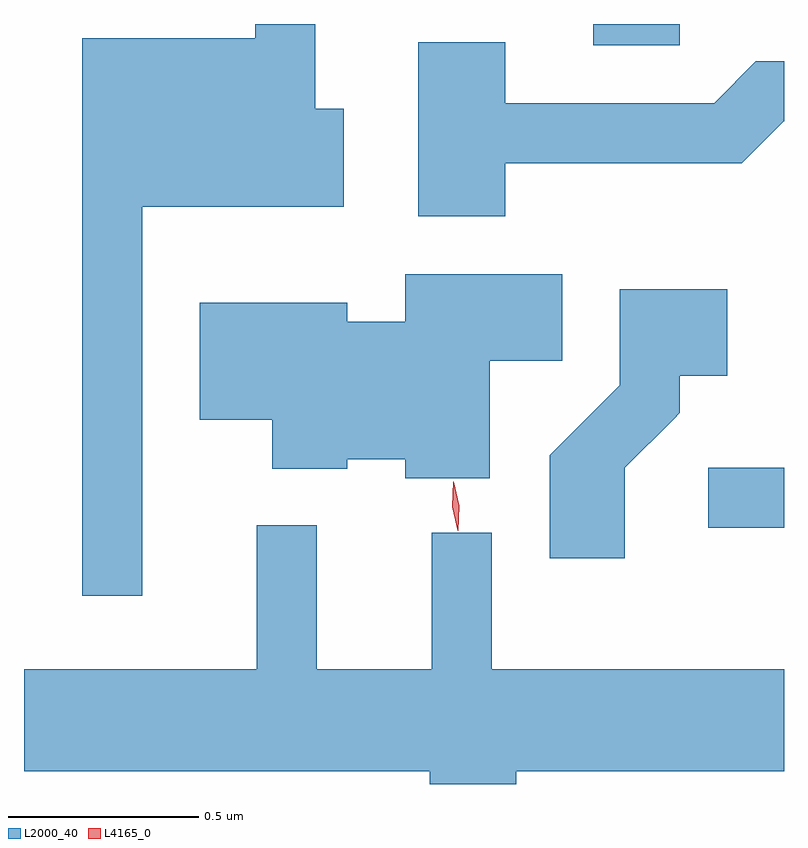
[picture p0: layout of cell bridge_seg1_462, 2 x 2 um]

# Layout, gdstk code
import gdstk
lib = gdstk.Library(unit=1e-6, precision=1e-09)
def R(c, l, rs):  # rectangles x0, y0, x1, y1
    for r in rs: c.add(gdstk.rectangle(r[:2], r[2:], *l))
def P(c, l, *ps):  # polygons
    for p in ps: c.add(gdstk.Polygon(p, *l))
L2000_40 = (2000, 40)
L4165_0 = (4165, 0)

bridge_seg1_462 = lib.new_cell('bridge_seg1_462')
R(bridge_seg1_462, L2000_40, [(344.103,846.936,344.303,847.094), (343.801,848.206,344.029,848.262)])
P(bridge_seg1_462, L2000_40, [(342.614,847.781),(343.144,847.781),(343.144,848.039),(343.069,848.039),(343.069,848.262),(342.911,848.262),(342.911,848.224),(342.456,848.224),(342.456,846.758),(342.614,846.758)],
  [(343.569,847.896),(344.192,847.896),(344.302,848.006),(344.303,848.006),(344.303,848.164),(344.229,848.164),(344.119,848.054),(343.569,848.054),(343.569,848.214),(343.341,848.214),(343.341,847.756),(343.569,847.756)],
  [(343.529,847.376),(343.719,847.376),(343.719,847.604),(343.306,847.604),(343.306,847.479),(343.154,847.479),(343.154,847.529),(342.766,847.529),(342.766,847.221),(342.956,847.221),(342.956,847.091),(343.154,847.091),(343.154,847.116),(343.306,847.116),(343.306,847.066),(343.529,847.066)],
  [(343.884,847.094),(344.013,847.222),(344.029,847.239),(344.029,847.336),(344.154,847.336),(344.154,847.564),(343.871,847.564),(343.871,847.312),(343.686,847.127),(343.686,846.856),(343.884,846.856)],
  [(343.599,846.296),(344.303,846.296),(344.303,846.564),(343.534,846.564),(343.534,846.923),(343.376,846.923),(343.376,846.564),(343.074,846.564),(343.074,846.943),(342.916,846.943),(342.916,846.564),(342.303,846.564),(342.303,846.296),(343.371,846.296),(343.371,846.262),(343.599,846.262)])
P(bridge_seg1_462, L4165_0, [(343.446,846.928),(343.445,846.929),(343.43,846.992),(343.433,847.057),(343.433,847.058),(343.434,847.057),(343.449,846.994),(343.446,846.929)])

lib.write_gds('bridge_seg1_462.gds')
